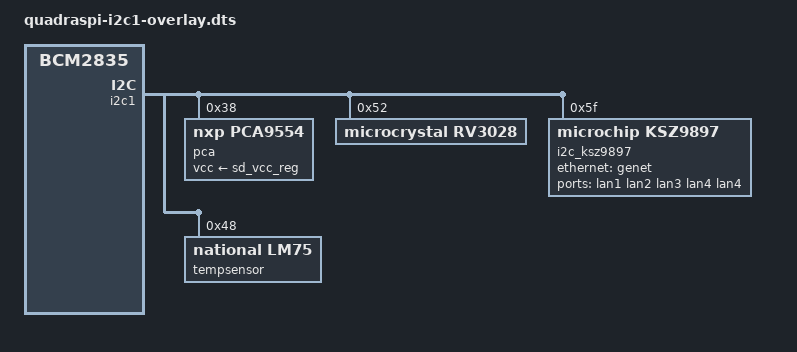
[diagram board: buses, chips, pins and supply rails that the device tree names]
// Device tree overlay for https://kws-computer.de/produkte-2/die-quadras-story/
// for details see ...

/dts-v1/;
/plugin/;

/ {
    compatible = "brcm,bcm2835";

    fragment@0 {
        target = <&i2c_arm>;
        __overlay__ {
            status = "activ";
        };
    };

    fragment@2 {
        target = <&i2c1>;
        __overlay__ {
            #address-cells = <1>;
            #size-cells = <0>;

            pca@38 {
                compatible = "nxp,pca9554";
                reg = <0x38>;
                gpio-controller;
                #gpio-cells = <2>;
                vcc-supply = <&sd_vcc_reg>;
                status = "okay";

                gpio-line-names = "M2_CFG_0", "M2_CFg_1", "M2_CFG_2", "M2_CFG_3", "M2_Reset", "M2_W_Disable_2", "M2_W_Disable_1", "Full_Card_Power_Off";
            };

            rv3028@54 {
                compatible = "microcrystal,rv3028";
                reg = <0x52>;
                backup-switchover-mode = <3>;
                trickle-resistor-ohms = <3000>;
            };

            i2c_ksz9897: ksz9897@5f {
                compatible = "microchip,ksz9897";
                reg = <0x5f>;

                *interrupt-parent = <&gpio>;
                interrupts = <&gpio 5 0>;
                status = "okay";
                ports {
                    #address-cells = <1>;
                    #size-cells = <0>;
                    port@0 {
                        reg = <0>;
                        label = "lan1";
                    };
                    port@1 {
                        reg = <1>;
                        label = "lan2";
                    };
                    port@2 {
                        reg = <2>;
                        label = "lan3";
                        ethernet = <&genet>;
                        fixed-link {
                            speed = <1000>;
                            full-duplex;
                        };
                    };
                    port@3 {
                        reg = <3>;
                        label = "lan4";
                    };
                    port@4 {
                        reg = <4>;
                        label = "lan4";
                    };
                };
            };

            tempsensor: lm75b@90 {
                compatible = "national,lm75";
                reg = <0x48>;
                status = "okay";
            };
        };
    };
};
